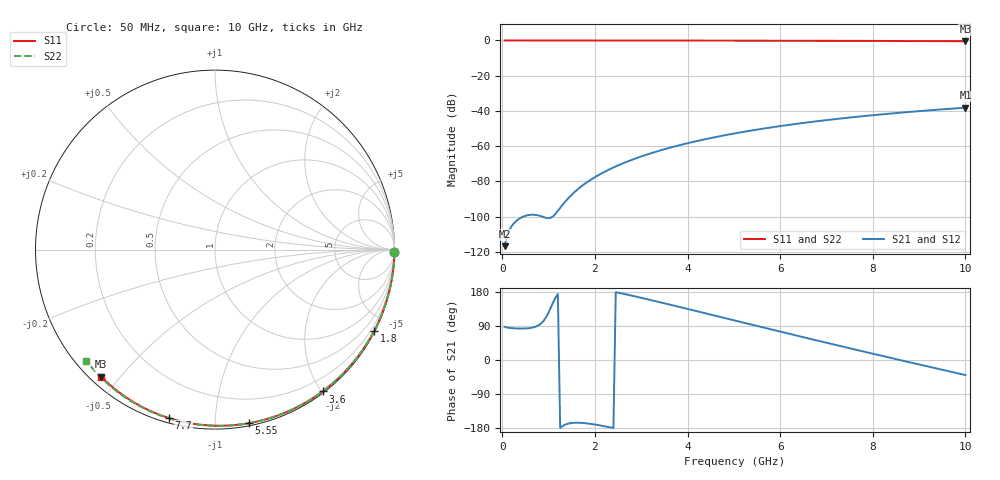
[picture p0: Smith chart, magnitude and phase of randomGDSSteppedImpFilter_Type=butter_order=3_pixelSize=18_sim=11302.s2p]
! freq	dB(S11)	phase(S11)	dB(S12)	phase(S12)
!  dB(S21)	phase(S21)	dB(S22)	phase(S22)
!S-par simulation data
#  GHz  S  DB  R 50
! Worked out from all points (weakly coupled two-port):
!   200 points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, 50 MHz to 10 GHz, reference 50 ohm
!   highest |S21| = -38.15 dB at 10 GHz (marker M1); lowest = -116.7 dB at 50 MHz (marker M2)
!   lowest |S11| = -0.4 dB at 10 GHz (marker M3), VSWR 38.96, Z = 1.54 - j22.3 ohm
!   |S11| at or under -10 dB: nowhere
!   |S22| runs from -0.5 to 0.0 dB; largest |S21 - S12| = 0
!   S11 on the Smith chart (normalised r, x): 50 MHz: open; 1.8 GHz: 0.04, -4.16; 3.6 GHz: 0.02, -2.01; 5.55 GHz: 0.02, -1.21; 7.7 GHz: 0.02, -0.76; 10 GHz: 0.03, -0.45
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0.05  -0.00 -0.8  -116.69 87.6  -116.69 87.6  -0.00 -0.8
0.45  -0.01 -6.9  -99.96 83.0  -99.96 83.0  -0.01 -7.2
0.9  -0.02 -13.6  -100.25 104.6  -100.25 104.6  -0.02 -14.4
1.75  -0.03 -26.3  -81.90 -166.3  -81.90 -166.3  -0.04 -27.7
1.8  -0.03 -27.0  -80.95 -166.9  -80.95 -166.9  -0.04 -28.5
1.85  -0.04 -27.8  -80.04 -167.6  -80.04 -167.6  -0.04 -29.3
2.15  -0.04 -32.2  -75.31 -173.5  -75.31 -173.5  -0.04 -33.9
2.35  -0.04 -35.1  -72.66 -178.2  -72.66 -178.2  -0.05 -37.0
2.55  -0.05 -38.0  -70.31 176.6  -70.31 176.6  -0.05 -40.0
2.95  -0.06 -43.7  -66.26 165.6  -66.26 165.6  -0.06 -46.0
3.4  -0.07 -50.1  -62.46 152.6  -62.46 152.6  -0.07 -52.7
3.6  -0.07 -52.9  -60.97 146.7  -60.97 146.7  -0.07 -55.6
3.9  -0.08 -57.0  -58.92 137.8  -58.92 137.8  -0.08 -60.0
4.3  -0.09 -62.5  -56.47 125.8  -56.47 125.8  -0.09 -65.7
5.05  -0.11 -72.4  -52.57 103.3  -52.57 103.3  -0.12 -76.2
5.55  -0.13 -78.9  -50.35 88.4  -50.35 88.4  -0.14 -83.0
6.1  -0.15 -85.9  -48.20 72.0  -48.20 72.0  -0.16 -90.3
6.7  -0.18 -93.4  -46.12 54.3  -46.12 54.3  -0.19 -98.2
7.7  -0.24 -105.4  -43.18 25.2  -43.18 25.2  -0.25 -110.9
8.35  -0.29 -113.0  -41.54 6.6  -41.54 6.6  -0.30 -118.9
9.2  -0.36 -122.8  -39.67 -17.4  -39.67 -17.4  -0.38 -129.3
10  -0.45 -131.9  -38.15 -39.7  -38.15 -39.7  -0.47 -139.1
